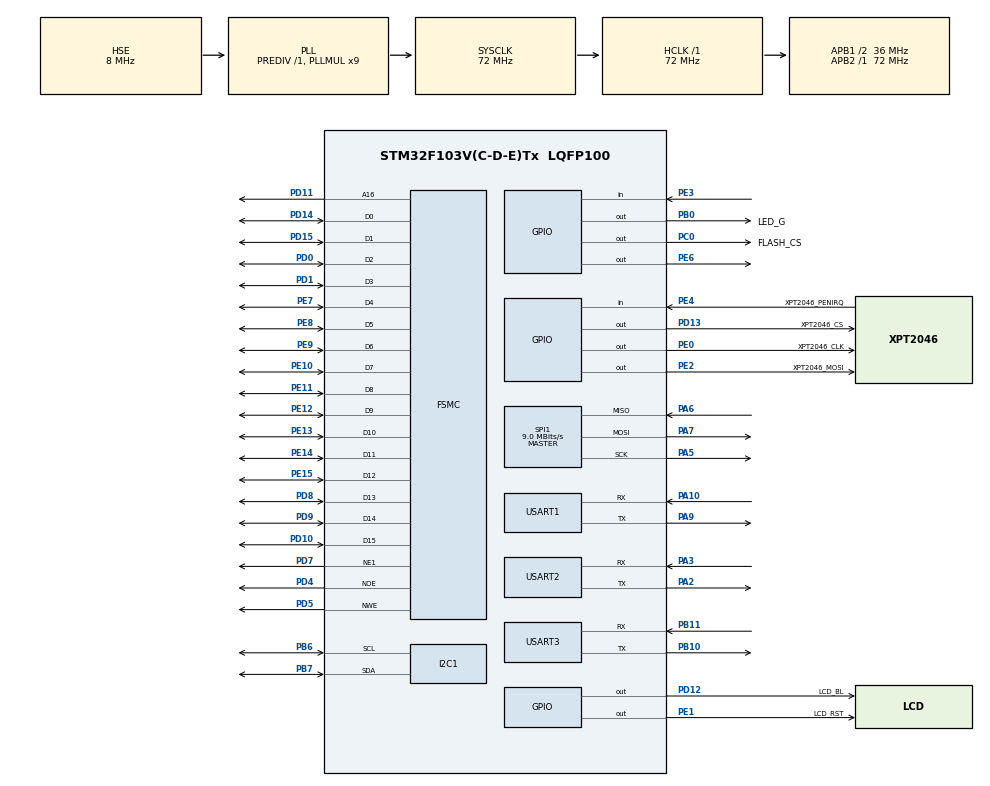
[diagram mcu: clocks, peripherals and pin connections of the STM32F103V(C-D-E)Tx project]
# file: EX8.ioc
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Dma.Request0=USART1_TX
Dma.Request1=USART2_RX
Dma.Request2=USART2_TX
Dma.Request3=SPI1_RX
Dma.Request4=SPI1_TX
Dma.SPI1_RX.3.Direction=DMA_PERIPH_TO_MEMORY
Dma.SPI1_RX.3.Instance=DMA1_Channel2
Dma.SPI1_RX.3.MemDataAlignment=DMA_MDATAALIGN_BYTE
Dma.SPI1_RX.3.MemInc=DMA_MINC_ENABLE
Dma.SPI1_RX.3.Mode=DMA_NORMAL
Dma.SPI1_RX.3.PeriphDataAlignment=DMA_PDATAALIGN_BYTE
Dma.SPI1_RX.3.PeriphInc=DMA_PINC_DISABLE
Dma.SPI1_RX.3.Priority=DMA_PRIORITY_LOW
Dma.SPI1_TX.4.Direction=DMA_MEMORY_TO_PERIPH
Dma.SPI1_TX.4.Instance=DMA1_Channel3
Dma.SPI1_TX.4.MemDataAlignment=DMA_MDATAALIGN_BYTE
Dma.SPI1_TX.4.MemInc=DMA_MINC_ENABLE
Dma.SPI1_TX.4.Mode=DMA_NORMAL
Dma.SPI1_TX.4.PeriphDataAlignment=DMA_PDATAALIGN_BYTE
Dma.SPI1_TX.4.PeriphInc=DMA_PINC_DISABLE
Dma.SPI1_TX.4.Priority=DMA_PRIORITY_LOW
Dma.USART1_TX.0.Direction=DMA_MEMORY_TO_PERIPH
Dma.USART1_TX.0.Instance=DMA1_Channel4
Dma.USART1_TX.0.MemDataAlignment=DMA_MDATAALIGN_BYTE
Dma.USART1_TX.0.MemInc=DMA_MINC_ENABLE
Dma.USART1_TX.0.Mode=DMA_NORMAL
Dma.USART1_TX.0.PeriphDataAlignment=DMA_PDATAALIGN_BYTE
Dma.USART1_TX.0.PeriphInc=DMA_PINC_DISABLE
Dma.USART1_TX.0.Priority=DMA_PRIORITY_LOW
Dma.USART2_RX.1.Direction=DMA_PERIPH_TO_MEMORY
Dma.USART2_RX.1.Instance=DMA1_Channel6
Dma.USART2_RX.1.MemDataAlignment=DMA_MDATAALIGN_BYTE
Dma.USART2_RX.1.MemInc=DMA_MINC_ENABLE
Dma.USART2_RX.1.Mode=DMA_NORMAL
Dma.USART2_RX.1.PeriphDataAlignment=DMA_PDATAALIGN_BYTE
Dma.USART2_RX.1.PeriphInc=DMA_PINC_DISABLE
Dma.USART2_RX.1.Priority=DMA_PRIORITY_LOW
Dma.USART2_TX.2.Direction=DMA_MEMORY_TO_PERIPH
Dma.USART2_TX.2.Instance=DMA1_Channel7
Dma.USART2_TX.2.MemDataAlignment=DMA_MDATAALIGN_BYTE
Dma.USART2_TX.2.MemInc=DMA_MINC_ENABLE
Dma.USART2_TX.2.Mode=DMA_NORMAL
Dma.USART2_TX.2.PeriphDataAlignment=DMA_PDATAALIGN_BYTE
Dma.USART2_TX.2.PeriphInc=DMA_PINC_DISABLE
Dma.USART2_TX.2.Priority=DMA_PRIORITY_LOW
FREERTOS.Mutexes01=uart1_mutex,Dynamic,NULL,Available
FREERTOS.Queues01=logQueue,10,64,1,Dynamic,NULL,NULL;BLEQueue,5,262,1,Dynamic,NULL,NULL
FREERTOS.Tasks01=Log_Task,24,512,LogTask,Default,NULL,Dynamic,NULL,NULL;Pressure_Task,9,256,PressureTask,Default,NULL,Dynamic,NULL,NULL;Usart2_Task,9,512,Usart2Task,Default,NULL,Dynamic,NULL,NULL;LCD_Task,8,512,LCDTask,Default,NULL,Dynamic,NULL,NULL;Monitor_Task,8,512,MonitorTask,Default,NULL,Dynamic,NULL,NULL;BLE_Task,8,256,BLETask,Default,NULL,Dynamic,NULL,NULL;DHT11_Task,8,512,DHT11Task,Default,NULL,Dynamic,NULL,NULL;FLASH_Task,8,1024,FLASHTask,Default,NULL,Dynamic,NULL,NULL
FREERTOS.configTOTAL_HEAP_SIZE=20480
FSMC.AddressSetupTime1=0
FSMC.BusTurnAroundDuration1=0
FSMC.DataSetupTime1=8
Mcu.Family=STM32F1
Mcu.Name=STM32F103V(C-D-E)Tx
Mcu.Package=LQFP100
NVIC.DMA1_Channel2_IRQn=true\:5\:0\:false\:false\:true\:true\:false\:true\:true
NVIC.DMA1_Channel3_IRQn=true\:5\:0\:false\:false\:true\:true\:false\:true\:true
NVIC.DMA1_Channel4_IRQn=true\:5\:0\:false\:false\:true\:true\:false\:true\:true
NVIC.DMA1_Channel6_IRQn=true\:5\:0\:false\:false\:true\:true\:false\:true\:true
NVIC.DMA1_Channel7_IRQn=true\:5\:0\:false\:false\:true\:true\:false\:true\:true
NVIC.PriorityGroup=NVIC_PRIORITYGROUP_4
NVIC.TIM6_IRQn=true\:15\:0\:false\:false\:true\:false\:false\:true\:true
NVIC.TimeBase=TIM6_IRQn
NVIC.TimeBaseIP=TIM6
NVIC.USART1_IRQn=true\:5\:0\:false\:false\:true\:true\:false\:true\:true
NVIC.USART2_IRQn=true\:5\:0\:false\:false\:true\:true\:false\:true\:true
OSC_IN.Mode=HSE-External-Oscillator
OSC_IN.Signal=RCC_OSC_IN
OSC_OUT.Mode=HSE-External-Oscillator
OSC_OUT.Signal=RCC_OSC_OUT
PA10.Mode=Asynchronous
PA10.Signal=USART1_RX
PA2.Mode=Asynchronous
PA2.Signal=USART2_TX
PA3.Mode=Asynchronous
PA3.Signal=USART2_RX
PA5.Mode=Full_Duplex_Master
PA5.Signal=SPI1_SCK
PA6.Mode=Full_Duplex_Master
PA6.Signal=SPI1_MISO
PA7.Mode=Full_Duplex_Master
PA7.Signal=SPI1_MOSI
PA9.Mode=Asynchronous
PA9.Signal=USART1_TX
PB0.GPIO_Label=LED_G
PB0.PinState=GPIO_PIN_SET
PB0.Signal=GPIO_Output
PB10.Mode=Asynchronous
PB10.Signal=USART3_TX
PB11.Mode=Asynchronous
PB11.Signal=USART3_RX
PB6.Mode=I2C
PB6.Signal=I2C1_SCL
PB7.Mode=I2C
PB7.Signal=I2C1_SDA
PC0.GPIO_Label=FLASH_CS
PC0.Signal=GPIO_Output
PD0.Mode=16b-d1
PD0.Signal=FSMC_D2
PD1.Mode=16b-d1
PD1.Signal=FSMC_D3
PD10.Mode=16b-d1
PD10.Signal=FSMC_D15
PD11.Mode=A16_1
PD11.Signal=FSMC_A16
PD12.GPIO_Label=LCD_BL
PD12.GPIO_PuPd=GPIO_PULLUP
PD12.GPIO_Speed=GPIO_SPEED_FREQ_HIGH
PD12.PinState=GPIO_PIN_SET
PD12.Signal=GPIO_Output
PD13.GPIO_Label=XPT2046_CS
PD13.GPIO_Speed=GPIO_SPEED_FREQ_HIGH
PD13.PinState=GPIO_PIN_SET
PD13.Signal=GPIO_Output
PD14.Mode=16b-d1
PD14.Signal=FSMC_D0
PD15.Mode=16b-d1
PD15.Signal=FSMC_D1
PD4.Mode=Lcd1
PD4.Signal=FSMC_NOE
PD5.Mode=Lcd1
PD5.Signal=FSMC_NWE
PD7.Mode=NorPsramChipSelect1_1
PD7.Signal=FSMC_NE1
PD8.Mode=16b-d1
PD8.Signal=FSMC_D13
PD9.Mode=16b-d1
PD9.Signal=FSMC_D14
PE0.GPIO_Label=XPT2046_CLK
PE0.GPIO_Speed=GPIO_SPEED_FREQ_HIGH
PE0.Signal=GPIO_Output
PE1.GPIO_Label=LCD_RST
PE1.GPIO_PuPd=GPIO_PULLUP
PE1.GPIO_Speed=GPIO_SPEED_FREQ_HIGH
PE1.PinState=GPIO_PIN_SET
PE1.Signal=GPIO_Output
PE10.Mode=16b-d1
PE10.Signal=FSMC_D7
PE11.Mode=16b-d1
PE11.Signal=FSMC_D8
PE12.Mode=16b-d1
PE12.Signal=FSMC_D9
PE13.Mode=16b-d1
PE13.Signal=FSMC_D10
PE14.Mode=16b-d1
PE14.Signal=FSMC_D11
PE15.Mode=16b-d1
PE15.Signal=FSMC_D12
PE2.GPIO_Label=XPT2046_MOSI
PE2.GPIO_Speed=GPIO_SPEED_FREQ_HIGH
PE2.Signal=GPIO_Output
PE3.Signal=GPIO_Input
PE4.GPIO_Label=XPT2046_PENIRQ
PE4.GPIO_PuPd=GPIO_PULLUP
PE4.Signal=GPIO_Input
PE6.Signal=GPIO_Output
PE7.Mode=16b-d1
PE7.Signal=FSMC_D4
PE8.Mode=16b-d1
PE8.Signal=FSMC_D5
PE9.Mode=16b-d1
PE9.Signal=FSMC_D6
ProjectManager.HeapSize=0x200
ProjectManager.StackSize=0x400
ProjectManager.TargetToolchain=MDK-ARM V5.32
RCC.AHBFreq_Value=72000000
RCC.APB1CLKDivider=RCC_HCLK_DIV2
RCC.APB1Freq_Value=36000000
RCC.APB1TimFreq_Value=72000000
RCC.APB2Freq_Value=72000000
RCC.APB2TimFreq_Value=72000000
RCC.HCLKFreq_Value=72000000
RCC.PLLMUL=RCC_PLL_MUL9
RCC.PLLSourceVirtual=RCC_PLLSOURCE_HSE
RCC.SYSCLKFreq_VALUE=72000000
RCC.SYSCLKSource=RCC_SYSCLKSOURCE_PLLCLK
RCC.USBFreq_Value=72000000
SPI1.BaudRatePrescaler=SPI_BAUDRATEPRESCALER_8
SPI1.CalculateBaudRate=9.0 MBits/s
SPI1.Direction=SPI_DIRECTION_2LINES
SPI1.Mode=SPI_MODE_MASTER
SPI1.VirtualType=VM_MASTER
TIM3.Prescaler=35
USART1.VirtualMode=VM_ASYNC
USART2.VirtualMode=VM_ASYNC
USART3.VirtualMode=VM_ASYNC
VP_FREERTOS_VS_CMSIS_V2.Mode=CMSIS_V2
VP_SYS_VS_ND.Mode=No_Debug
VP_SYS_VS_tim6.Mode=TIM6
VP_TIM3_VS_ClockSourceINT.Mode=Internal
board=custom

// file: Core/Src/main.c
/* USER CODE BEGIN Header */
/**
  ******************************************************************************
  * @file           : main.c
  * @brief          : Main program body
  ******************************************************************************
  * @attention
  *
  * Copyright (c) 2025 STMicroelectronics.
  * All rights reserved.
  *
  * This software is licensed under terms that can be found in the LICENSE file
  * in the root directory of this software component.
  * If no LICENSE file comes with this software, it is provided AS-IS.
  *
  ******************************************************************************
  */
/* USER CODE END Header */
#include "main.h"
#include "cmsis_os.h"
#include "dma.h"
#include "i2c.h"
#include "spi.h"
#include "tim.h"
#include "usart.h"
#include "gpio.h"
#include "fsmc.h"

/* USER CODE BEGIN Includes */
#include "log.h"
#include "ble_data.h"
#include "delay.h"
#include "bsp_dwt.h"
/* USER CODE END Includes */

void SystemClock_Config(void);
void MX_FREERTOS_Init(void);

int main(void)
{

  /* MCU Configuration--------------------------------------------------------*/

  /* Reset of all peripherals, Initializes the Flash interface and the Systick. */
  HAL_Init();

  /* Configure the system clock */
  SystemClock_Config();

  /* Initialize all configured peripherals */
  MX_GPIO_Init();
  MX_DMA_Init();
  MX_USART1_UART_Init();
  MX_USART2_UART_Init();
  MX_FSMC_Init();
  MX_SPI1_Init();
  MX_TIM3_Init();
  MX_USART3_UART_Init();
  MX_I2C1_Init();

  /* Init scheduler */
  osKernelInitialize();  /* Call init function for freertos objects (in cmsis_os2.c) */
  MX_FREERTOS_Init();

  /* Start scheduler */
  osKernelStart();

  /* We should never get here as control is now taken by the scheduler */

  /* Infinite loop */
  while (1)
  {

  }
}

void SystemClock_Config(void)
{
  RCC_OscInitTypeDef RCC_OscInitStruct = {0};
  RCC_ClkInitTypeDef RCC_ClkInitStruct = {0};

  /** Initializes the RCC Oscillators according to the specified parameters
  * in the RCC_OscInitTypeDef structure.
  */
  RCC_OscInitStruct.OscillatorType = RCC_OSCILLATORTYPE_HSE;
  RCC_OscInitStruct.HSEState = RCC_HSE_ON;
  RCC_OscInitStruct.HSEPredivValue = RCC_HSE_PREDIV_DIV1;
  RCC_OscInitStruct.HSIState = RCC_HSI_ON;
  RCC_OscInitStruct.PLL.PLLState = RCC_PLL_ON;
  RCC_OscInitStruct.PLL.PLLSource = RCC_PLLSOURCE_HSE;
  RCC_OscInitStruct.PLL.PLLMUL = RCC_PLL_MUL9;
  if (HAL_RCC_OscConfig(&RCC_OscInitStruct) != HAL_OK)
  {
    Error_Handler();
  }

  /** Initializes the CPU, AHB and APB buses clocks
  */
  RCC_ClkInitStruct.ClockType = RCC_CLOCKTYPE_HCLK|RCC_CLOCKTYPE_SYSCLK
                              |RCC_CLOCKTYPE_PCLK1|RCC_CLOCKTYPE_PCLK2;
  RCC_ClkInitStruct.SYSCLKSource = RCC_SYSCLKSOURCE_PLLCLK;
  RCC_ClkInitStruct.AHBCLKDivider = RCC_SYSCLK_DIV1;
  RCC_ClkInitStruct.APB1CLKDivider = RCC_HCLK_DIV2;
  RCC_ClkInitStruct.APB2CLKDivider = RCC_HCLK_DIV1;

  if (HAL_RCC_ClockConfig(&RCC_ClkInitStruct, FLASH_LATENCY_2) != HAL_OK)
  {
    Error_Handler();
  }
}

void HAL_TIM_PeriodElapsedCallback(TIM_HandleTypeDef *htim)
{
  if (htim->Instance == TIM6)
  {
    HAL_IncTick();
  }
}

void Error_Handler(void)
{
  __disable_irq();
  while (1)
  {
  }
}

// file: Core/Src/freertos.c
/* USER CODE BEGIN Header */
/**
  ******************************************************************************
  * File Name          : freertos.c
  * Description        : Code for freertos applications
  ******************************************************************************
  * @attention
  *
  * Copyright (c) 2025 STMicroelectronics.
  * All rights reserved.
  *
  * This software is licensed under terms that can be found in the LICENSE file
  * in the root directory of this software component.
  * If no LICENSE file comes with this software, it is provided AS-IS.
  *
  ******************************************************************************
  */
/* USER CODE END Header */

#include "FreeRTOS.h"
#include "task.h"
#include "main.h"
#include "cmsis_os.h"

/* USER CODE BEGIN Includes */
#include "log.h"
#include "ble_data.h"
#include "modbus.h"
#include "flash.h"
#include <stdlib.h>
#include <stdio.h>
#include "delay.h"
#include "usart.h"
#include "bsp_ili9341_lcd.h"
#include "bsp_xpt2046_lcd.h"
#include "pressure.h"
#include <string.h>
#include "i2c.h"
#include "bsp_dht11.h"
#include "tim.h"
#include "bsp_dwt.h"
#include "flash.h"
/* USER CODE END Includes */

/* USER CODE BEGIN Variables */
/* BLE接收缓冲区 */
  uint8_t bt_rx_buffer[256];
/* 全局任务句柄 */
osThreadId_t g_PressureTaskHandle;  // 压力任务全局句柄
osThreadId_t g_LCDTaskHandle;       // LCD任务全局句柄
osThreadId_t g_DHT11TaskHandle;  // dht11任务全局句柄
/* USER CODE END Variables */
/* Definitions for Log_Task */
osThreadId_t Log_TaskHandle;
const osThreadAttr_t Log_Task_attributes = {
  .name = "Log_Task",
  .stack_size = 512 * 4,
  .priority = (osPriority_t) osPriorityNormal,
};
/* Definitions for Pressure_Task */
osThreadId_t Pressure_TaskHandle;
const osThreadAttr_t Pressure_Task_attributes = {
  .name = "Pressure_Task",
  .stack_size = 256 * 4,
  .priority = (osPriority_t) osPriorityLow1,
};
/* Definitions for Usart2_Task */
osThreadId_t Usart2_TaskHandle;
const osThreadAttr_t Usart2_Task_attributes = {
  .name = "Usart2_Task",
  .stack_size = 512 * 4,
  .priority = (osPriority_t) osPriorityLow1,
};
/* Definitions for LCD_Task */
osThreadId_t LCD_TaskHandle;
const osThreadAttr_t LCD_Task_attributes = {
  .name = "LCD_Task",
  .stack_size = 512 * 4,
  .priority = (osPriority_t) osPriorityLow,
};
/* Definitions for Monitor_Task */
osThreadId_t Monitor_TaskHandle;
const osThreadAttr_t Monitor_Task_attributes = {
  .name = "Monitor_Task",
  .stack_size = 512 * 4,
  .priority = (osPriority_t) osPriorityLow,
};
/* Definitions for BLE_Task */
osThreadId_t BLE_TaskHandle;
const osThreadAttr_t BLE_Task_attributes = {
  .name = "BLE_Task",
  .stack_size = 256 * 4,
  .priority = (osPriority_t) osPriorityLow,
};
/* Definitions for DHT11_Task */
osThreadId_t DHT11_TaskHandle;
const osThreadAttr_t DHT11_Task_attributes = {
  .name = "DHT11_Task",
  .stack_size = 512 * 4,
  .priority = (osPriority_t) osPriorityLow,
};
/* Definitions for FLASH_Task */
osThreadId_t FLASH_TaskHandle;
const osThreadAttr_t FLASH_Task_attributes = {
  .name = "FLASH_Task",
  .stack_size = 1024 * 4,
  .priority = (osPriority_t) osPriorityLow,
};
/* Definitions for logQueue */
osMessageQueueId_t logQueueHandle;
const osMessageQueueAttr_t logQueue_attributes = {
  .name = "logQueue"
};
/* Definitions for BLEQueue */
osMessageQueueId_t BLEQueueHandle;
const osMessageQueueAttr_t BLEQueue_attributes = {
  .name = "BLEQueue"
};
/* Definitions for uart1_mutex */
osMutexId_t uart1_mutexHandle;
const osMutexAttr_t uart1_mutex_attributes = {
  .name = "uart1_mutex"
};

void LogTask(void *argument);
void PressureTask(void *argument);
void Usart2Task(void *argument);
void LCDTask(void *argument);
void MonitorTask(void *argument);
void BLETask(void *argument);
void DHT11Task(void *argument);
void FLASHTask(void *argument);

void MX_FREERTOS_Init(void); /* (MISRA C 2004 rule 8.1) */

void MX_FREERTOS_Init(void) {
  /* Create the mutex(es) */
  /* creation of uart1_mutex */
  uart1_mutexHandle = osMutexNew(&uart1_mutex_attributes);

  /* Create the queue(s) */
  /* creation of logQueue */
  logQueueHandle = osMessageQueueNew (10, 64, &logQueue_attributes);

  /* creation of BLEQueue */
  BLEQueueHandle = osMessageQueueNew (5, 262, &BLEQueue_attributes);

  /* Create the thread(s) */
  /* creation of Log_Task */
  Log_TaskHandle = osThreadNew(LogTask, NULL, &Log_Task_attributes);

  /* creation of Pressure_Task */
  Pressure_TaskHandle = osThreadNew(PressureTask, NULL, &Pressure_Task_attributes);

  /* creation of Usart2_Task */
  Usart2_TaskHandle = osThreadNew(Usart2Task, NULL, &Usart2_Task_attributes);

  /* creation of LCD_Task */
  LCD_TaskHandle = osThreadNew(LCDTask, NULL, &LCD_Task_attributes);

  /* creation of Monitor_Task */
  Monitor_TaskHandle = osThreadNew(MonitorTask, NULL, &Monitor_Task_attributes);

  /* creation of BLE_Task */
  BLE_TaskHandle = osThreadNew(BLETask, NULL, &BLE_Task_attributes);

  /* creation of DHT11_Task */
  DHT11_TaskHandle = osThreadNew(DHT11Task, NULL, &DHT11_Task_attributes);

  /* creation of FLASH_Task */
  FLASH_TaskHandle = osThreadNew(FLASHTask, NULL, &FLASH_Task_attributes);

  /* USER CODE BEGIN RTOS_THREADS */
  g_PressureTaskHandle = Pressure_TaskHandle;  // 压力任务全局句柄
  g_LCDTaskHandle = LCD_TaskHandle;       // LCD任务全局句柄
  g_DHT11TaskHandle = DHT11_TaskHandle;  // DHT11任务全局句柄
  /* add threads, ... */
  /* USER CODE END RTOS_THREADS */

}

void LogTask(void *argument)
{
  /* USER CODE BEGIN LogTask */
  LogMessage_t log_msg;
  char output_buffer[80];
  osStatus_t status;

  /* 初始化日志系统 */
  Log_Init();

  /* Infinite loop */
  for(;;)
  {
    /* 从队列中获取日志消息 */
    status = osMessageQueueGet(logQueueHandle, &log_msg, NULL, osWaitForever);

    if (status == osOK) {
      /* 格式化日志输出 */
      snprintf(output_buffer, sizeof(output_buffer),
               "[%5lu] %s: %s\r\n",
               log_msg.timestamp,
               (log_msg.level < LOG_LEVEL_MAX) ?
                 ((const char*[]){"ERROR", "WARN ", "INFO ", "DEBUG"})[log_msg.level] : "UNKN",
               log_msg.message);

      /* 获取UART1互斥锁 */
      osMutexAcquire(uart1_mutexHandle, osWaitForever);

      /* 使用阻塞发送，避免DMA状态检查的死循环 */
      HAL_UART_Transmit(&huart1, (uint8_t*)output_buffer, strlen(output_buffer), 100);

      /* 释放UART1互斥锁 */
      osMutexRelease(uart1_mutexHandle);
    }
  }
  /* USER CODE END LogTask */
}

void PressureTask(void *argument)
{
  /* USER CODE BEGIN PressureTask */
  osDelay(1000);
  Log_Info("Pressure Task Suspend");
  osThreadSuspend(osThreadGetId());

  double pressure_value;
  uint16_t pressure_value_hpa;
  /* Wait for system initialization */
  osDelay(500);

  Log_Info("Pressure Task started");

  /* Initialize pressure sensor */
  if (PressureSensor_Init(&hi2c1) != PRESSURE_OK) {
    Log_Error("Pressure sensor initialization failed");
    for(;;) {
      osDelay(1000);
    }
  }

  Log_Info("Pressure sensor initialized successfully");

  /* Infinite loop */
  for(;;)
  {
      /* 等待任务通知或超时 */
      uint32_t flags = osThreadFlagsWait(0x01, osFlagsWaitAny, 5000);  /* 等待5秒或任务通知 */

      if (flags & 0x01) {
          /* 收到任务通知，立即读取压力 */
//          Log_Debug("Pressure task triggered by notification");
      } else {
          /* 超时，正常周期读取 */
//          Log_Debug("Pressure task periodic read");
      }

      /* 读取压力数据 */
      pressure_value = PressureSensor_ReadData(&hi2c1);

      if (pressure_value != PRESSURE_READ_ERROR)
      {
          /* 更新全局压力值 */
          PressureSensor_UpdateValue(pressure_value);

          pressure_value_hpa = pressure_value * 10000; //以hPa为单位
          Log_Debug("Pressure_hpa: %d", pressure_value_hpa);
          Log_Debug("Pressure_mPa: %.4f", pressure_value);
      }
      else
      {
          Log_Error("Pressure sensor read error");
      }
  }

  /* USER CODE END PressureTask */
}

void Usart2Task(void *argument)
{
  /* USER CODE BEGIN Usart2Task */
  BLEMessage_t ble_msg;
  osStatus_t status;
  uint8_t modbus_response[256];
  uint16_t response_length;

  /* 等待系统初始化完成 */
  osDelay(200);

  /* 初始化BLE系统 */
  BLE_Init();

  /* 初始化Modbus系统 */
  Modbus_Init();

  Log_Info("Usart2 Task started, waiting for data from UART2");
  /* Infinite loop */
  for(;;)
  {
    /* 从消息队列获取BLE消息 */
    status = osMessageQueueGet(BLEQueueHandle, &ble_msg, NULL, osWaitForever);
    if (status == osOK)
    {
      /* 先检测是否为Modbus命令 */
      if (Modbus_IsModbusCommand(ble_msg.data, ble_msg.length))
      {
        /* 是Modbus命令，处理Modbus请求 */
        Modbus_ProcessRequest(ble_msg.data, ble_msg.length, modbus_response, &response_length);

        if (response_length > 0)
        {
          /* 获取UART1互斥锁 */
          osMutexAcquire(uart1_mutexHandle, osWaitForever);

          /* 发送Modbus响应 */
          HAL_UART_Transmit(&huart1, modbus_response, response_length, 100);
          HAL_UART_Transmit(&huart2, modbus_response, response_length, 100);
          /* 释放UART1互斥锁 */
          osMutexRelease(uart1_mutexHandle);

          Log_Info("Modbus response sent: %d bytes", response_length);
        }
      }
      else
      {
        /* 不是Modbus命令，作为普通字符串处理 */
        osMutexAcquire(uart1_mutexHandle, osWaitForever);

        /* 添加接收标识 */
        HAL_UART_Transmit(&huart1, (uint8_t*)"receive:", 8, 100);

        /* 把接收到的数据转发到串口1打印 */
        HAL_UART_Transmit(&huart1, ble_msg.data, ble_msg.length, 100);

        /* 添加换行符以便于观察 */
        HAL_UART_Transmit(&huart1, (uint8_t*)"\r\n", 2, 100);

        /* 释放UART1互斥锁 */
        osMutexRelease(uart1_mutexHandle);

        Log_Info("String data received: %d bytes", ble_msg.length);
      }
    }
  }
  /* USER CODE END Usart2Task */
}

void LCDTask(void *argument)
{
  /* USER CODE BEGIN LCDTask */
//  osDelay(1000);
//  Log_Info("LCD Task Suspend");
//  osThreadSuspend(osThreadGetId());

  double pressure_value;
  float temperature_value;
  float humidity_value;
  char dispBuff[100];
  uint16_t display_counter = 0;
  uint8_t first_run = 1;

  ILI9341_Init ();             //LCD 初始化
  ILI9341_GramScan( 6 );
  extern uint16_t lcdid;

  Log_Info("LCD Task started");

  /* Infinite loop */
  for(;;)
  {
    /* 等待任务通知或超时 */
    uint32_t flags = osThreadFlagsWait(0x01, osFlagsWaitAny, 1000);  /* 等待1秒超时 */

    display_counter++;

    /* 只在第一次运行时清屏并显示静态内容 */
    if (first_run) {
      /* 清屏 */
      ILI9341_Clear(0,0,LCD_X_LENGTH,LCD_Y_LENGTH);

      first_run = 0;
    }

    /* 检查是否收到任务通知 */
    if (flags & 0x01) {
//      Log_Debug("LCD task triggered by notification");
    } else {
//      Log_Debug("LCD task periodic refresh");
    }

    /* 直接从全局变量读取压力数据 */
    pressure_value = PressureSensor_GetLatestValue();

    if (pressure_value != PRESSURE_READ_ERROR) {
      /* 使用OpenWindow精确刷新压力数据区域 */
      ILI9341_OpenWindow(0, LINE(0), LCD_X_LENGTH, LINE(2) - LINE(0) + 16);
      ILI9341_Clear(0, LINE(0), LCD_X_LENGTH, LINE(2) - LINE(0) + 16);  /* 清除压力数据区域 */

      /* 显示压力数据 */
      LCD_SetFont(&Font8x16);
      LCD_SetTextColor(GREEN);
      ILI9341_DispStringLine_EN(LINE(0),"Pressure Data:");

      LCD_SetFont(&Font8x16);
      LCD_SetTextColor(YELLOW);
      sprintf(dispBuff,"%.4f MPa", pressure_value);
      ILI9341_DispStringLine_EN(LINE(1), dispBuff);

    }

    /* 直接从全局变量读取温度数据 */
    temperature_value = TemperatureSensor_GetLatestValue();
    if (temperature_value != 0.0f) {
      /* 使用OpenWindow精确刷新温度数据区域 */
      ILI9341_OpenWindow(0, LINE(2), LCD_X_LENGTH, LINE(2) - LINE(2) + 16);
      ILI9341_Clear(0, LINE(2), LCD_X_LENGTH, LINE(2) - LINE(2) + 16);  /* 清除温度数据区域 */

      /* 显示温度数据 */
      LCD_SetFont(&Font8x16);
      LCD_SetTextColor(GREEN);
      ILI9341_DispStringLine_EN(LINE(2),"Temperature Data:");

      LCD_SetFont(&Font8x16);
      LCD_SetTextColor(YELLOW);
      sprintf(dispBuff,"%.1f C", temperature_value);
      ILI9341_DispStringLine_EN(LINE(3), dispBuff);
    }

    /* 直接从全局变量读取湿度数据 */
    humidity_value = HumiditySensor_GetLatestValue();
    if (humidity_value != 0.0f) {
      /* 使用OpenWindow精确刷新湿度数据区域 */
      ILI9341_OpenWindow(0, LINE(4), LCD_X_LENGTH, LINE(4) - LINE(4) + 16);
      ILI9341_Clear(0, LINE(4), LCD_X_LENGTH, LINE(4) - LINE(4) + 16);  /* 清除湿度数据区域 */

      /* 显示湿度数据 */
      LCD_SetFont(&Font8x16);
      LCD_SetTextColor(GREEN);
      ILI9341_DispStringLine_EN(LINE(4),"Humidity Data:");

      LCD_SetFont(&Font8x16);
      LCD_SetTextColor(YELLOW);
      sprintf(dispBuff,"%.1f%%", humidity_value);
      ILI9341_DispStringLine_EN(LINE(5), dispBuff);
    }

    /* 使用OpenWindow精确刷新系统信息区域 */
    ILI9341_OpenWindow(0, LINE(19), LCD_X_LENGTH, LINE(19) - LINE(19) + 16);
    ILI9341_Clear(0, LINE(19), LCD_X_LENGTH, LINE(19) - LINE(19) + 16);  /* 清除系统信息区域 */

    /* 显示计数器 */
    LCD_SetFont(&Font8x16);
    LCD_SetTextColor(WHITE);
    sprintf(dispBuff,"Display Count: %d", display_counter);
    ILI9341_DispStringLine_EN(LINE(19), dispBuff);

    /* 注意：不再需要osDelay，因为osThreadFlagsWait已经处理了超时 */
  }
  /* USER CODE END LCDTask */
}

void MonitorTask(void *argument)
{
  /* USER CODE BEGIN MonitorTask */
  osDelay(1000);
  Log_Info("Monitor Task Suspend");
  osThreadSuspend(osThreadGetId());

  /* Infinite loop */
  for(;;)
  {
    osDelay(1000);
  }
  /* USER CODE END MonitorTask */
}

void BLETask(void *argument)
{
  /* USER CODE BEGIN BLETask */
  osDelay(2000);
  Log_Info("BLE Task Suspend");
  osThreadSuspend(osThreadGetId());

  Log_Info("BLETask Start");

  HAL_UART_Transmit(&huart2, (uint8_t*)"+++", 3, 100);
  osDelay(1000);
  HAL_UART_Transmit(&huart2, (uint8_t*)"AT+NAME=0,STM32F103VETx\r\n", 25, 100);
  osDelay(1000);
  HAL_UART_Transmit(&huart2, (uint8_t*)"AT+ROLE=0\r\n", 11, 100);
  osDelay(1000);
  HAL_UART_Transmit(&huart2, (uint8_t*)"AT+EXIT\r\n", 9, 100);

  /* Infinite loop */
  for(;;)
  {

    osDelay(1000);
  }
  /* USER CODE END BLETask */
}

void DHT11Task(void *argument)
{
  /* USER CODE BEGIN DHT11Task */

  osDelay(1000);
  Log_Info("DHT11 Task Suspend");
  osThreadSuspend(osThreadGetId());

  float temperature = 0.0f;
  float humidity = 0.0f;
  uint8_t read_result = 0;
  uint32_t read_count = 0;
  uint16_t counter = 0;

  osDelay(2000);
  Log_Info("DHT11Task Start");

  /* 初始化DWT延时 */
  DWT_Init();

  /* 初始化DHT11 */
  DHT11_Init();

  /* Infinite loop */
  for(;;)
  {
    counter ++;
    /* 等待任务通知或超时 */
    uint32_t flags = osThreadFlagsWait(0x01, osFlagsWaitAny, 5000);  /* 等待5秒或任务通知 */

    Log_Debug("counter : %d",counter);
    read_count++;

    /* 检查是否收到了任务通知 */
    if (flags & 0x01) {
      Log_Info("DHT11 triggered by task notification (attempt #%lu)", read_count);
    } else {
      Log_Info("DHT11 triggered by timeout (attempt #%lu)", read_count);
    }

    /* 读取DHT11数据 */
    read_result = DHT11_Read_Data(&temperature, &humidity);

    if (read_result == 0)
    {
      SensorData_UpdateTemperature(temperature);
      SensorData_UpdateHumidity(humidity);
    }
    else
    {
      Log_Error("DHT11 read failed (attempt #%lu)", read_count);
    }
  }
  /* USER CODE END DHT11Task */
}

void FLASHTask(void *argument)
{
  /* USER CODE BEGIN FLASHTask */
  osDelay(1000);
  Log_Info("FLASH Task Suspend");
  osThreadSuspend(osThreadGetId());

  Log_Info("Flash Task: Starting...");

  /* 初始化Flash存储系统 */
  Flash_TaskInit();

  /* 等待系统稳定 */
  osDelay(2000);

  /* Flash系统初始化完成 */
  Log_Info("Flash Task: System ready for sensor data storage");

  /* Infinite loop */
  for(;;)
  {
    /* 看门狗机制 - 记录任务开始时间 */
    uint32_t task_start_time = osKernelGetTickCount();

    /* 处理Flash任务 */
    Flash_TaskProcess();

    /* 检查任务执行时间，如果超过5秒则认为任务卡住 */
    uint32_t task_duration = osKernelGetTickCount() - task_start_time;
    if (task_duration > 5000) {
      Log_Error("Flash Task: Task execution took %lu ms - possible hang detected!", task_duration);
    }

    /* 每5秒存储一次传感器数据 */
    static uint32_t last_store_time = 0;
    uint32_t current_time = osKernelGetTickCount();

    if (current_time - last_store_time >= 5000) {
      /* 获取全局传感器数据 */
      GlobalSensorData_t* sensor_data = SensorData_GetGlobalData();

      /* 准备传感器数据用于存储 */
      uint8_t sensor_data_bytes[sizeof(GlobalSensorData_t)];
      memcpy(sensor_data_bytes, sensor_data, sizeof(GlobalSensorData_t));

      /* 存储传感器数据 */
      uint32_t record_id;
      FlashResult_t result = Flash_StoreData(sensor_data_bytes, sizeof(GlobalSensorData_t), &record_id);

      if (result == FLASH_OK) {
        Log_Info("Flash Task: Stored sensor data with ID %lu", record_id);

        /* 立即读取验证数据一致性 */
        ReadResult_t read_result;
        result = Flash_ReadData(record_id, &read_result);

        if (result == FLASH_OK && read_result.valid) {
          /* 比较存储和读取的数据 */
          if (read_result.data_length == sizeof(GlobalSensorData_t)) {
            GlobalSensorData_t* read_data = (GlobalSensorData_t*)read_result.data;

            /* 验证关键数据字段 */
            int data_match = 1;
            if (sensor_data->pressure_value != read_data->pressure_value) {
              Log_Error("Flash Task: Pressure value mismatch! Stored: %.6f, Read: %.6f",
                       sensor_data->pressure_value, read_data->pressure_value);
              data_match = 0;
            }
            if (sensor_data->temperature != read_data->temperature) {
              Log_Error("Flash Task: Temperature value mismatch! Stored: %.2f, Read: %.2f",
                       sensor_data->temperature, read_data->temperature);
              data_match = 0;
            }
            if (sensor_data->humidity != read_data->humidity) {
              Log_Error("Flash Task: Humidity value mismatch! Stored: %.2f, Read: %.2f",
                       sensor_data->humidity, read_data->humidity);
              data_match = 0;
            }
            if (sensor_data->system_status != read_data->system_status) {
              Log_Error("Flash Task: System status mismatch! Stored: 0x%04X, Read: 0x%04X",
                       sensor_data->system_status, read_data->system_status);
              data_match = 0;
            }

            if (data_match) {
              Log_Info("Flash Task: Data verification PASSED - All sensor data matches");
              Log_Info("Flash Task: P:%.6f T:%.2f H:%.2f S:0x%04X",
                      sensor_data->pressure_value, sensor_data->temperature,
                      sensor_data->humidity, sensor_data->system_status);
            } else {
              Log_Error("Flash Task: Data verification FAILED - Data mismatch detected");
            }
          } else {
            Log_Error("Flash Task: Data length mismatch! Expected: %lu, Read: %lu",
                     sizeof(GlobalSensorData_t), read_result.data_length);
          }
        } else {
          Log_Error("Flash Task: Failed to read stored data for verification");
        }
      } else {
        Log_Error("Flash Task: Failed to store sensor data, error %d", result);
      }

      last_store_time = current_time;
    }

    osDelay(1);
  }
  /* USER CODE END FLASHTask */
}
